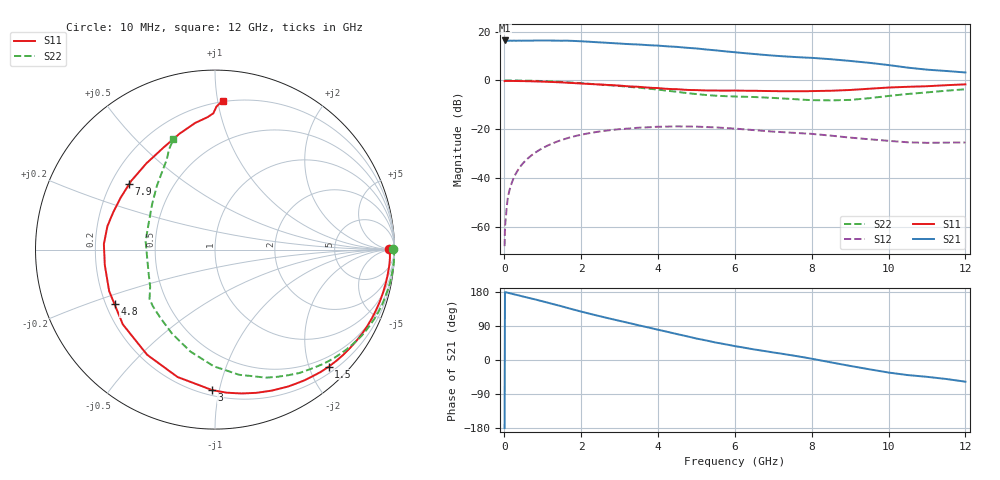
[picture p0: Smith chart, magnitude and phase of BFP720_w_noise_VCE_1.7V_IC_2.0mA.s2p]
! Infineon Technologies  Discrete & RF Semiconductors
! BFP720
! VCE =  1.7 V,  IC =  2.0 mA
! Common Emitter S-Parameters:  Aug 2012
# GHz  S  MA  R  50
!  f  S11  S21  S12  S22
! GHz  MAG  ANG  MAG  ANG  MAG  ANG  MAG  ANG
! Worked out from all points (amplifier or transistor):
!   105 points, 10 MHz to 12 GHz, reference 50 ohm
!   highest |S21| = 16.4 dB at 10 MHz (marker M1)
!   |S21| within 3 dB of that: start of sweep to 4.757 GHz
!   unconditionally stable (mu >= 1): start of sweep to 10.24 MHz; 7.744 GHz to 11.91 GHz
!   at 300 MHz: K = 0.01, MSG = 27.3 dB, |S12| = -38.3 dB
!   at 3.6 GHz: K = 0.30, MSG = 17.0 dB, |S12| = -19.3 dB
!   at 12 GHz: K = 0.95, MSG = 14.4 dB, |S12| = -25.4 dB
!   lowest NFmin = 0.39 dB at 450 MHz
!   S11 on the Smith chart (normalised r, x): 10 MHz: 63, +4; 1.5 GHz: 0.31, -2.33; 3 GHz: 0.24, -0.95; 4.8 GHz: 0.24, -0.24; 7.9 GHz: 0.28, +0.31; 12 GHz: 0.19, +1.03
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0.01  0.969 0.1  6.589 -179.7  0.0004 -20.7  0.9929 0.3
0.02  0.9757 -0.5  6.42 179.1  0.001 86.5  0.9996 -0.4
0.09  0.9753 -2.6  6.487 177.6  0.0037 86.7  0.9987 -2.1
0.3  0.9719 -8.6  6.503 172.3  0.0122 84.1  0.996 -6.7
0.9  0.9495 -26.6  6.57 157.4  0.0369 71.3  0.9753 -20.6
1.5  0.9094 -45.8  6.503 141.6  0.0603 57.5  0.9287 -35.0
1.8  0.8822 -55.7  6.447 133.2  0.0707 50.4  0.898 -42.1
2.1  0.8547 -64.9  6.268 125.3  0.0797 43.4  0.8641 -48.9
2.6  0.8149 -79.6  5.951 112.8  0.0922 32.7  0.8105 -59.7
3  0.7833 -91.1  5.701 103.3  0.1001 24.8  0.7687 -68.1
3.5  0.7401 -106.3  5.445 91.5  0.1074 15.1  0.7107 -79.0
4.1  0.6849 -126.3  5.09 77.7  0.1125 3.9  0.6343 -93.0
4.8  0.6372 -151.4  4.635 61.5  0.1133 -8.5  0.5448 -111.5
5  0.6334 -158.6  4.521 56.7  0.113 -12.1  0.525 -117.3
5.5  0.62 -172.0  4.132 46.1  0.1089 -20.0  0.4861 -129.1
6.1  0.6173 175.3  3.715 35.0  0.1014 -27.8  0.4657 -138.8
7  0.6039 159.9  3.223 19.9  0.0891 -35.8  0.4373 -146.1
7.9  0.6013 142.8  2.922 5.2  0.0811 -41.8  0.3973 -157.8
8.5  0.6139 128.5  2.718 -6.2  0.0738 -46.2  0.3895 173.0
9.5  0.6749 107.1  2.292 -24.5  0.0622 -47.5  0.432 144.2
10.5  0.7391 93.2  1.827 -39.8  0.0539 -45.0  0.5268 123.8
12  0.8302 87.1  1.454 -57.2  0.0534 -38.8  0.6585 110.6
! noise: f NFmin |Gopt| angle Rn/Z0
0.45  0.39  0.68  5  0.26
1.8  0.53  0.62  29  0.21
2.4  0.62  0.52  76  0.19
5.5  0.87  0.39  86  0.14
10  1.32  0.47  -108  0.22
